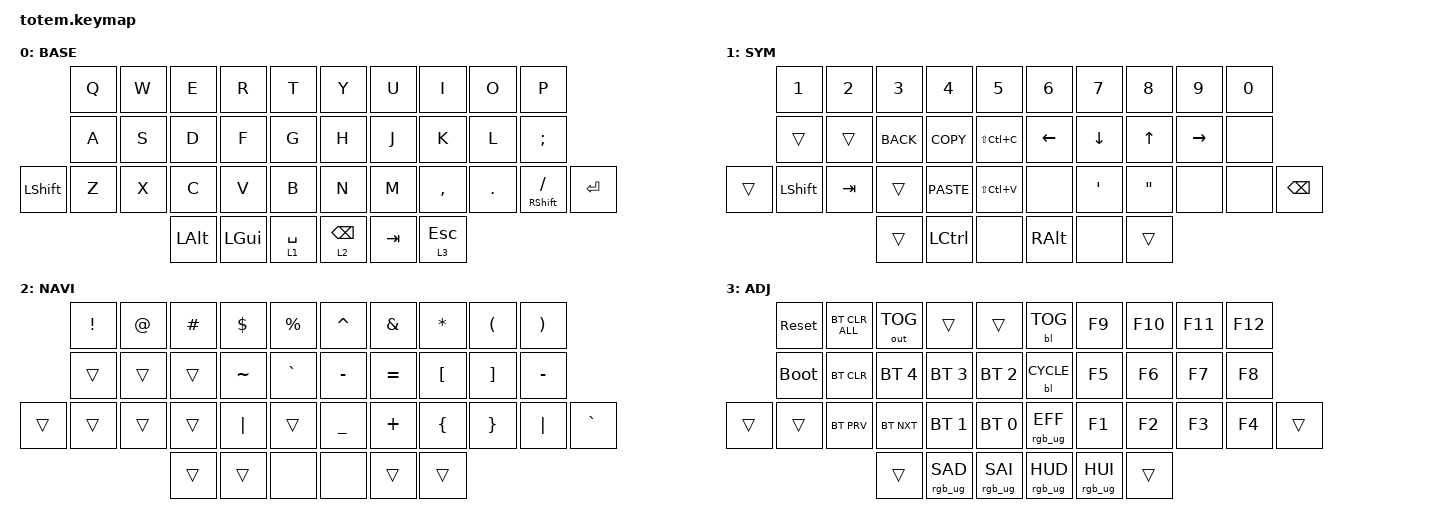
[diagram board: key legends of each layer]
//
//                                                        ▀▀▀▀▀     ▀▀▀▀▀          ▀▀█▀▀
//                                                        ▄▀▀▀▄  ▄  ▄▀▀▀▄  ▄  ▄▀▀▀▄  █  ▄▀▀▀▄
//                                                        █   █  █  █   █  █  █   █  █  █   █
//                                                         ▀▀▀   █   ▀▀▀   █   ▀▀▀   ▀   ▀▀▀
//                                                               █      ▄▄▄█▄▄▄    █   █  
//                                                               ▀      █  █  █     █▄█
//                                                             ▀▀▀▀▀    █  █  █      ▀
//                                                                      ▀  ▀  ▀
//
// ▄▄▄▄▄▄▄▄▄▄▄▄▄▄▄▄▄▄▄▄▄▄▄▄▄▄▄▄▄▄▄▄▄▄▄▄▄▄▄▄▄▄▄▄▄▄▄▄▄▄▄▄▄▄▄▄▄▄▄▄▄▄▄▄▄▄▄▄▄▄▄▄▄▄▄▄▄▄▄▄▄▄▄▄▄▄▄▄▄▄▄▄▄▄▄▄▄▄▄▄▄▄▄▄▄▄▄▄▄▄▄▄▄▄▄▄▄▄▄▄▄▄▄▄▄▄▄▄▄▄▄▄▄▄▄▄▄▄▄▄▄▄▄▄▄▄▄▄▄

#include <behaviors.dtsi>
#include <dt-bindings/zmk/backlight.h>
#include <dt-bindings/zmk/bt.h>
#include <dt-bindings/zmk/keys.h>
#include <dt-bindings/zmk/outputs.h>
#include <dt-bindings/zmk/rgb.h>

#define BASE 0
#define NAV  1
#define SYM  2
#define ADJ  3
#define TVP1 4
#define TVP2 5

&mt {
    quick-tap-ms = <100>;
    global-quick-tap;
    flavor = "tap-preferred";
    tapping-term-ms = <170>;
};

/ {
    combos {
        compatible = "zmk,combos";

        combo_esc {
            timeout-ms = <50>;
            key-positions = <0 1>;
            bindings = <&kp ESC>;
        };

        combo_tvp {
            timeout-ms = <100>;
            key-positions = <11 12 13>;
            bindings = <&tog 0>;
        };
    };

    macros {
        gif: gif {
            label = "giphy";
            compatible = "zmk,behavior-macro";
            #binding-cells = <0>;
            bindings =
                <&macro_press>,
                <&kp LSHFT>,
                <&macro_tap>,
                <&kp N2>,
                <&macro_release>,
                <&kp LSHFT>,
                <&macro_tap>,
                <&kp G &kp I &kp F>;
        };
    };

    keymap {
        compatible = "zmk,keymap";

        // ▄▄▄▄▄▄▄▄▄▄▄▄▄▄▄▄▄▄▄▄▄▄▄▄▄▄▄▄▄▄▄▄▄▄▄▄▄▄▄▄▄▄▄▄▄▄▄▄▄▄▄▄▄▄▄▄▄▄▄▄▄▄▄▄▄▄▄▄▄▄▄▄▄▄▄▄▄▄▄▄▄▄▄▄▄▄▄▄▄▄▄▄▄▄▄▄▄▄▄▄▄▄▄▄▄▄▄▄▄▄▄▄▄▄▄▄▄▄▄▄▄▄▄▄▄▄▄▄▄▄▄▄▄▄▄▄▄▄▄▄▄▄▄▄▄▄▄▄▄

        base_layer {
            // ┏━━━━━━━━━━━━━━━━━━━━━━━━━━━━━━━━━━━━━━━┓

            label = "BASE";

            // ┗━━━━━━━━━━━━━━━━━━━━━━━━━━━━━━━━━━━━━━━┛
            //             ┏━━━━━━━━━━━┳━━━━━━━━━━━┳━━━━━━━━━━━┳━━━━━━━━━━━┳━━━━━━━━━━━┓   ┏━━━━━━━━━━━┳━━━━━━━━━━━┳━━━━━━━━━━━┳━━━━━━━━━━━┳━━━━━━━━━━━┓
            //             ┃     Q     ┃     W     ┃     F     ┃     P     ┃     G     ┃   ┃     J     ┃     L     ┃     U     ┃     Y     ┃     ;     ┃
            //             ┣━━━━━━━━━━━╋━━━━━━━━━━━╋━━━━━━━━━━━╋━━━━━━━━━━━╋━━━━━━━━━━━┫   ┣━━━━━━━━━━━╋━━━━━━━━━━━╋━━━━━━━━━━━╋━━━━━━━━━━━╋━━━━━━━━━━━┫
            //             ┃     A     ┃     R     ┃     S     ┃     T     ┃     D     ┃   ┃     H     ┃     N     ┃     E     ┃     I     ┃     O     ┃
            // ┏━━━━━━━━━━━╋━━━━━━━━━━━╋━━━━━━━━━━━╋━━━━━━━━━━━╋━━━━━━━━━━━╋━━━━━━━━━━━┫   ┣━━━━━━━━━━━╋━━━━━━━━━━━╋━━━━━━━━━━━╋━━━━━━━━━━━╋━━━━━━━━━━━╋━━━━━━━━━━━┓
            // ┃     Q     ┃     Z     ┃     X     ┃     C     ┃     V     ┃     B     ┃   ┃     K     ┃     M     ┃     ,     ┃     .     ┃     /     ┃     \     ┃
            // ┗━━━━━━━━━━━┻━━━━━━━━━━━┻━━━━━━━━━━━╋━━━━━━━━━━━╋━━━━━━━━━━━╋━━━━━━━━━━━┫   ┣━━━━━━━━━━━╋━━━━━━━━━━━╋━━━━━━━━━━━╋━━━━━━━━━━━┻━━━━━━━━━━━┻━━━━━━━━━━━┛
            //                                     ┃    DEL    ┃    TAB    ┃    SPC    ┃   ┃   ENTER   ┃           ┃   BSPC    ┃
            //                                     ┗━━━━━━━━━━━┻━━━━━━━━━━━┻━━━━━━━━━━━┛   ┗━━━━━━━━━━━┻━━━━━━━━━━━┻━━━━━━━━━━━┛

            bindings = <
           &kp Q  &kp W  &kp E     &kp R         &kp T          &kp Y            &kp U    &kp I         &kp O    &kp P
           &kp A  &kp S  &kp D     &kp F         &kp G          &kp H            &kp J    &kp K         &kp L    &kp SEMI
&kp LSHFT  &kp Z  &kp X  &kp C     &kp V         &kp B          &kp N            &kp M    &kp COMMA     &kp DOT  &mt RSHFT SLASH  &kp ENTER
                         &kp LALT  &kp LEFT_GUI  &lt 1 SPACE    &lt 2 BACKSPACE  &kp TAB  &lt 3 ESCAPE
            >;
        };

        sim_layer {
            // ┏━━━━━━━━━━━━━━━━━━━━━━━━━━━━━━━━━━━━━━━┓

            label = "SYM";

            // ┗━━━━━━━━━━━━━━━━━━━━━━━━━━━━━━━━━━━━━━━┛
            //             ┏━━━━━━━━━━━┳━━━━━━━━━━━┳━━━━━━━━━━━┳━━━━━━━━━━━┳━━━━━━━━━━━┓   ┏━━━━━━━━━━━┳━━━━━━━━━━━┳━━━━━━━━━━━┳━━━━━━━━━━━┳━━━━━━━━━━━┓
            //             ┃     !     ┃     @     ┃     #     ┃     $     ┃     %     ┃   ┃     ˆ     ┃     &     ┃     Ü     ┃     '     ┃     "     ┃
            //             ┣━━━━━━━━━━━╋━━━━━━━━━━━╋━━━━━━━━━━━╋━━━━━━━━━━━╋━━━━━━━━━━━┫   ┣━━━━━━━━━━━╋━━━━━━━━━━━╋━━━━━━━━━━━╋━━━━━━━━━━━╋━━━━━━━━━━━┫
            //             ┃     Ä     ┃           ┃    SZ     ┃           ┃           ┃   ┃   MUTE    ┃   YEN     ┃   EURO    ┃  POUND    ┃     Ö     ┃
            // ┏━━━━━━━━━━━╋━━━━━━━━━━━╋━━━━━━━━━━━╋━━━━━━━━━━━╋━━━━━━━━━━━╋━━━━━━━━━━━┫   ┣━━━━━━━━━━━╋━━━━━━━━━━━╋━━━━━━━━━━━╋━━━━━━━━━━━╋━━━━━━━━━━━╋━━━━━━━━━━━┓
            // ┃           ┃  EMAIL1   ┃  EMAIL2   ┃           ┃           ┃           ┃   ┃   VOL-    ┃   VOL+    ┃   LAST    ┃   NEXT    ┃     \     ┃           ┃
            // ┗━━━━━━━━━━━┻━━━━━━━━━━━┻━━━━━━━━━━━╋━━━━━━━━━━━╋━━━━━━━━━━━╋━━━━━━━━━━━┫   ┣━━━━━━━━━━━╋━━━━━━━━━━━╋━━━━━━━━━━━╋━━━━━━━━━━━┻━━━━━━━━━━━┻━━━━━━━━━━━┛
            //                                     ┃           ┃    GIF    ┃    ADJ    ┃   ┃           ┃           ┃           ┃
            //                                     ┗━━━━━━━━━━━┻━━━━━━━━━━━┻━━━━━━━━━━━┛   ┗━━━━━━━━━━━┻━━━━━━━━━━━┻━━━━━━━━━━━┛

            bindings = <
        &kp NUMBER_1    &kp NUMBER_2  &kp NUMBER_3  &kp NUMBER_4      &kp N5           &kp NUMBER_6   &kp N7            &kp N8             &kp N9     &kp N0
        &trans          &trans        &kp K_BACK    &kp K_COPY        &kp LS(LC(C))    &kp LEFT       &kp DOWN          &kp UP             &kp RIGHT  &none
&trans  &kp LEFT_SHIFT  &kp TAB       &trans        &kp K_PASTE       &kp LS(LC(V))    &none          &kp SINGLE_QUOTE  &kp DOUBLE_QUOTES  &none      &none   &kp BACKSPACE
                                      &trans        &kp LEFT_CONTROL  &none            &kp RIGHT_ALT  &none             &trans
            >;
        };

        nav_layer {
            // ┏━━━━━━━━━━━━━━━━━━━━━━━━━━━━━━━━━━━━━━━┓

            label = "NAVI";

            // ┗━━━━━━━━━━━━━━━━━━━━━━━━━━━━━━━━━━━━━━━┛
            //             ┏━━━━━━━━━━━┳━━━━━━━━━━━┳━━━━━━━━━━━┳━━━━━━━━━━━┳━━━━━━━━━━━┓   ┏━━━━━━━━━━━┳━━━━━━━━━━━┳━━━━━━━━━━━┳━━━━━━━━━━━┳━━━━━━━━━━━┓
            //             ┃           ┃           ┃     UP    ┃           ┃     {     ┃   ┃     }     ┃     7     ┃     8     ┃     9     ┃     +     ┃
            //             ┣━━━━━━━━━━━╋━━━━━━━━━━━╋━━━━━━━━━━━╋━━━━━━━━━━━╋━━━━━━━━━━━┫   ┣━━━━━━━━━━━╋━━━━━━━━━━━╋━━━━━━━━━━━╋━━━━━━━━━━━╋━━━━━━━━━━━┫
            //             ┃   SHIFT   ┃   LEFT    ┃    DOWN   ┃   RIGHT   ┃     [     ┃   ┃     ]     ┃     4     ┃     5     ┃     6     ┃     -     ┃
            // ┏━━━━━━━━━━━╋━━━━━━━━━━━╋━━━━━━━━━━━╋━━━━━━━━━━━╋━━━━━━━━━━━╋━━━━━━━━━━━┫   ┣━━━━━━━━━━━╋━━━━━━━━━━━╋━━━━━━━━━━━╋━━━━━━━━━━━╋━━━━━━━━━━━╋━━━━━━━━━━━┓
            // ┃           ┃           ┃   P UP    ┃  C LOCK   ┃  P DOWN   ┃     (     ┃   ┃     )     ┃     1     ┃     2     ┃     3     ┃     *     ┃           ┃
            // ┗━━━━━━━━━━━┻━━━━━━━━━━━┻━━━━━━━━━━━╋━━━━━━━━━━━╋━━━━━━━━━━━╋━━━━━━━━━━━┫   ┣━━━━━━━━━━━╋━━━━━━━━━━━╋━━━━━━━━━━━╋━━━━━━━━━━━┻━━━━━━━━━━━┻━━━━━━━━━━━┛
            //                                     ┃           ┃    TAB    ┃    SPC    ┃   ┃    DEL    ┃     0     ┃           ┃
            //                                     ┗━━━━━━━━━━━┻━━━━━━━━━━━┻━━━━━━━━━━━┛   ┗━━━━━━━━━━━┻━━━━━━━━━━━┻━━━━━━━━━━━┛

            bindings = <
        &kp EXCL  &kp AT  &kp HASH  &kp DOLLAR  &kp PERCENT    &kp CARET  &kp AMPERSAND  &kp ASTERISK      &kp LEFT_PARENTHESIS  &kp RIGHT_PARENTHESIS
        &trans    &trans  &trans    &kp TILDE   &kp GRAVE      &kp MINUS  &kp EQUAL      &kp LEFT_BRACKET  &kp RIGHT_BRACKET     &kp MINUS
&trans  &trans    &trans  &trans    &kp PIPE    &trans         &kp UNDER  &kp PLUS       &kp LEFT_BRACE    &kp RIGHT_BRACE       &kp PIPE               &kp GRAVE
                          &trans    &trans      &none          &none      &trans         &trans
            >;
        };

        adjust_layer {
            // ┏━━━━━━━━━━━━━━━━━━━━━━━━━━━━━━━━━━━━━━━┓

            label = "ADJ";

            // ┗━━━━━━━━━━━━━━━━━━━━━━━━━━━━━━━━━━━━━━━┛
            //             ┏━━━━━━━━━━━┳━━━━━━━━━━━┳━━━━━━━━━━━┳━━━━━━━━━━━┳━━━━━━━━━━━┓   ┏━━━━━━━━━━━┳━━━━━━━━━━━┳━━━━━━━━━━━┳━━━━━━━━━━━┳━━━━━━━━━━━┓
            //             ┃   RESET   ┃ BT CLEAR  ┃  OUT TOG  ┃           ┃           ┃   ┃           ┃    F7     ┃    F8     ┃    F9     ┃    F12    ┃
            //             ┣━━━━━━━━━━━╋━━━━━━━━━━━╋━━━━━━━━━━━╋━━━━━━━━━━━╋━━━━━━━━━━━┫   ┣━━━━━━━━━━━╋━━━━━━━━━━━╋━━━━━━━━━━━╋━━━━━━━━━━━╋━━━━━━━━━━━┫
            //             ┃ BOOTLOAD  ┃ BT NEXT   ┃           ┃           ┃           ┃   ┃           ┃    F4     ┃    F5     ┃    F6     ┃    F11    ┃
            // ┏━━━━━━━━━━━╋━━━━━━━━━━━╋━━━━━━━━━━━╋━━━━━━━━━━━╋━━━━━━━━━━━╋━━━━━━━━━━━┫   ┣━━━━━━━━━━━╋━━━━━━━━━━━╋━━━━━━━━━━━╋━━━━━━━━━━━╋━━━━━━━━━━━╋━━━━━━━━━━━┓
            // ┃           ┃           ┃ BT PREV   ┃           ┃           ┃           ┃   ┃           ┃    F1     ┃    F2     ┃    F3     ┃    F10    ┃           ┃
            // ┗━━━━━━━━━━━┻━━━━━━━━━━━┻━━━━━━━━━━━╋━━━━━━━━━━━╋━━━━━━━━━━━╋━━━━━━━━━━━┫   ┣━━━━━━━━━━━╋━━━━━━━━━━━╋━━━━━━━━━━━╋━━━━━━━━━━━┻━━━━━━━━━━━┻━━━━━━━━━━━┛
            //                                     ┃           ┃           ┃           ┃   ┃           ┃           ┃           ┃
            //                                     ┗━━━━━━━━━━━┻━━━━━━━━━━━┻━━━━━━━━━━━┛   ┗━━━━━━━━━━━┻━━━━━━━━━━━┻━━━━━━━━━━━┛

            bindings = <
        &sys_reset   &bt BT_CLR_ALL  &out OUT_TOG  &trans           &trans             &bl BL_TOG       &kp F9           &kp F10  &kp F11  &kp F12
        &bootloader  &bt BT_CLR      &bt BT_SEL 4  &bt BT_SEL 3     &bt BT_SEL 2       &bl BL_CYCLE     &kp F5           &kp F6   &kp F7   &kp F8
&trans  &trans       &bt BT_PRV      &bt BT_NXT    &bt BT_SEL 1     &bt BT_SEL 0       &rgb_ug RGB_EFF  &kp F1           &kp F2   &kp F3   &kp F4   &trans
                                     &trans        &rgb_ug RGB_SAD  &rgb_ug RGB_SAI    &rgb_ug RGB_HUD  &rgb_ug RGB_HUI  &trans
            >;
        };

        // ▄▄▄▄▄▄▄▄▄▄▄▄▄▄▄▄▄▄▄▄▄▄▄▄▄▄▄▄▄▄▄▄▄▄▄▄▄▄▄▄▄▄▄▄▄▄▄▄▄▄▄▄▄▄▄▄▄▄▄▄▄▄▄▄▄▄▄▄▄▄▄▄▄▄▄▄▄▄▄▄▄▄▄▄▄▄▄▄▄▄▄▄▄▄▄▄▄▄▄▄▄▄▄▄▄▄▄▄▄▄▄▄▄▄▄▄▄▄▄▄▄▄▄▄▄▄▄▄▄▄▄▄▄▄▄▄▄▄▄▄▄▄▄▄▄▄▄▄▄
        // ▄▄▄▄▄▄▄▄▄▄▄▄▄▄▄▄▄▄▄▄▄▄▄▄▄▄▄▄▄▄▄▄▄▄▄▄▄▄▄▄▄▄▄▄▄▄▄▄▄▄▄▄▄▄▄▄▄▄▄▄▄▄▄▄▄▄▄▄▄▄▄▄▄▄▄▄▄▄▄▄▄▄▄▄▄▄▄▄▄▄▄▄▄▄▄▄▄▄▄▄▄▄▄▄▄▄▄▄▄▄▄▄▄▄▄▄▄▄▄▄▄▄▄▄▄▄▄▄▄▄▄▄▄▄▄▄▄▄▄▄▄▄▄▄▄▄▄▄▄
    };
};
